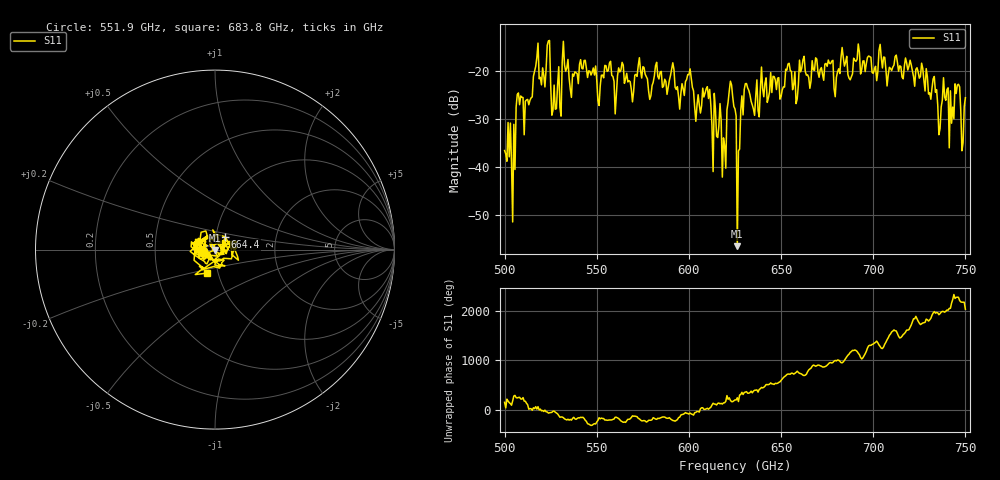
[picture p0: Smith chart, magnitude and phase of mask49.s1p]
!Created with skrf (http://scikit-rf.org).
# GHz S MA R 50.0
!freq magS11 angS11
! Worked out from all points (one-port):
!   401 points, 500 GHz to 750 GHz, reference 50 ohm
!   lowest |S11| = -56.6 dB at 626.2 GHz (marker M1), VSWR 1.00, Z = 49.9 - j0.138 ohm
!   |S11| at or under -10 dB: start of sweep to end of sweep
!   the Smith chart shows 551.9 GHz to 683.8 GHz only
!   S11 on the Smith chart (normalised r, x): 551.9 GHz: 0.87, -0.01; 664.4 GHz: 1.11, +0.16; 683.8 GHz: 0.88, -0.24
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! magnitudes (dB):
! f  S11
! 500 GHz  -36.6
! 505 GHz  -31.1
! 507.5 GHz  -24.5
! 511.9 GHz  -26.0
! 516.9 GHz  -19.0
! 523.8 GHz  -13.7
! 526.9 GHz  -22.9
! 531.2 GHz  -18.1
! 551.9 GHz  -23.1
! 562.5 GHz  -20.1
! 593.8 GHz  -23.2
! 610 GHz  -23.2
! 618.8 GHz  -33.9
! 622.5 GHz  -22.1
! 624.4 GHz  -27.4
! 625 GHz  -27.9
! 626.2 GHz  -56.6
! 631.2 GHz  -22.6
! 656.2 GHz  -23.9
! 664.4 GHz  -20.7
! 683.8 GHz  -17.1
! 687.5 GHz  -21.8
! 718.8 GHz  -19.7
! 736.2 GHz  -32.0
! 739.4 GHz  -26.1
! 742.5 GHz  -30.9
! 745.6 GHz  -22.9
! 750 GHz  -25.5
